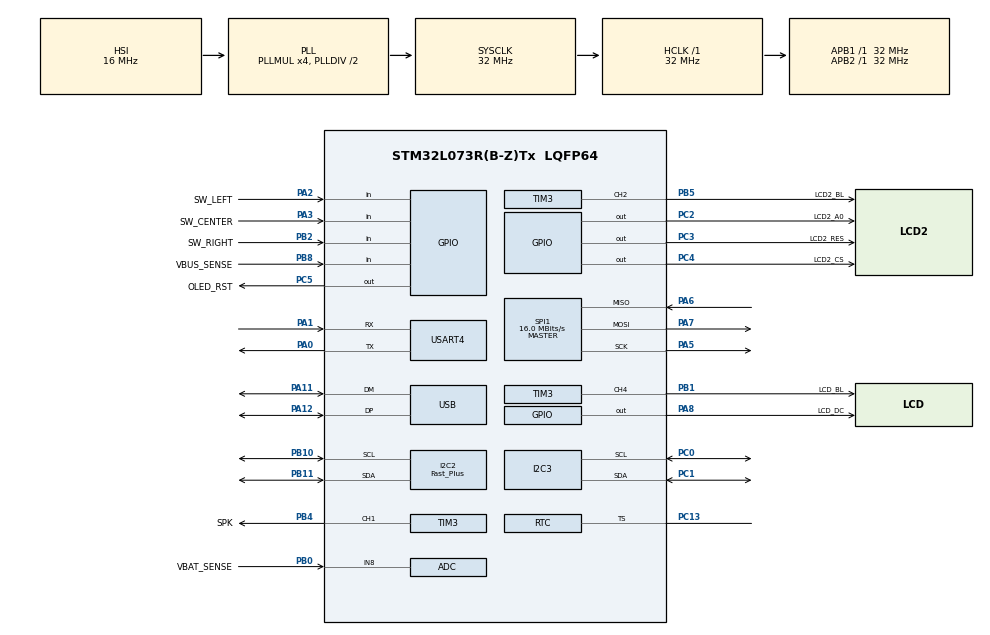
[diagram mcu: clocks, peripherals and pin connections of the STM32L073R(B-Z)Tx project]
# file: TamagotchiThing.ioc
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ADC.LowPowerAutoWait=DISABLE
I2C2.I2C_Speed_Mode=I2C_Fast_Plus
I2C2.Timing=0x0040040C
I2C3.Timing=0x00B07CB4
Mcu.Family=STM32L0
Mcu.Name=STM32L073R(B-Z)Tx
Mcu.Package=LQFP64
NVIC.TIM2_IRQn=true\:3\:0\:false\:false\:true\:false\:true\:true
NVIC.TIM6_DAC_IRQn=true\:0\:0\:false\:false\:true\:true\:true\:true
NVIC.TIM7_IRQn=true\:0\:0\:false\:false\:true\:true\:true\:true
NVIC.TimeBase=TIM2_IRQn
NVIC.TimeBaseIP=TIM2
NVIC.USB_IRQn=true\:0\:0\:false\:false\:true\:true\:true\:true
PA0.Mode=Asynchronous
PA0.Signal=USART4_TX
PA1.Mode=Asynchronous
PA1.Signal=USART4_RX
PA11.Mode=Device
PA11.Signal=USB_DM
PA12.Mode=Device
PA12.Signal=USB_DP
PA13.Mode=Serial_Wire
PA13.Signal=SYS_SWDIO
PA14.Mode=Serial_Wire
PA14.Signal=SYS_SWCLK
PA2.GPIO_Label=SW_LEFT
PA2.Signal=GPIO_Input
PA3.GPIO_Label=SW_CENTER
PA3.Signal=GPIO_Input
PA4.Signal=SPI1_NSS
PA5.Mode=Full_Duplex_Master
PA5.Signal=SPI1_SCK
PA6.Mode=Full_Duplex_Master
PA6.Signal=SPI1_MISO
PA7.Mode=Full_Duplex_Master
PA7.Signal=SPI1_MOSI
PA8.GPIO_Label=LCD_DC
PA8.Signal=GPIO_Output
PB0.GPIO_Label=VBAT_SENSE
PB0.Mode=IN8
PB0.Signal=ADC_IN8
PB1.GPIO_Label=LCD_BL
PB1.Signal=S_TIM3_CH4
PB10.Mode=I2C
PB10.Signal=I2C2_SCL
PB11.Mode=I2C
PB11.Signal=I2C2_SDA
PB2.GPIO_Label=SW_RIGHT
PB2.Signal=GPIO_Input
PB4.GPIO_Label=SPK
PB4.Signal=S_TIM3_CH1
PB5.GPIO_Label=LCD2_BL
PB5.Signal=S_TIM3_CH2
PB8.GPIO_Label=VBUS_SENSE
PB8.Signal=GPIO_Input
PC0.Mode=I2C
PC0.Signal=I2C3_SCL
PC1.Mode=I2C
PC1.Signal=I2C3_SDA
PC13.Mode=Timestamp enabled
PC13.Signal=RTC_TS
PC14-OSC32_IN.Mode=LSE-External-Oscillator
PC14-OSC32_IN.Signal=RCC_OSC32_IN
PC15-OSC32_OUT.Mode=LSE-External-Oscillator
PC15-OSC32_OUT.Signal=RCC_OSC32_OUT
PC2.GPIO_Label=LCD2_A0
PC2.Signal=GPIO_Output
PC3.GPIO_Label=LCD2_RES
PC3.Signal=GPIO_Output
PC4.GPIO_Label=LCD2_CS
PC4.Signal=GPIO_Output
PC5.GPIO_Label=OLED_RST
PC5.Signal=GPIO_Output
ProjectManager.HeapSize=0x200
ProjectManager.StackSize=0x400
ProjectManager.TargetToolchain=CMake
RCC.ADCFreq_Value=16000000
RCC.AHBFreq_Value=32000000
RCC.APB1Freq_Value=32000000
RCC.APB1TimFreq_Value=32000000
RCC.APB2Freq_Value=32000000
RCC.APB2TimFreq_Value=32000000
RCC.HCLKFreq_Value=32000000
RCC.HSE_VALUE=8000000
RCC.HSI16_VALUE=16000000
RCC.HSI48MClockSelection=RCC_USBCLKSOURCE_HSI48
RCC.HSI48_VALUE=48000000
RCC.HSI_VALUE=16000000
RCC.LptimClockSelection=RCC_LPTIM1CLKSOURCE_LSE
RCC.MSI_VALUE=2097000
RCC.PLLMUL=RCC_PLLMUL_4
RCC.RTCClockSelectionVirtual=RCC_RTCCLKSOURCE_LSE
RCC.SYSCLKFreq_VALUE=32000000
RCC.SYSCLKSource=RCC_SYSCLKSOURCE_PLLCLK
RCC.VCOOutputFreq_Value=64000000
RTC.Hours=13
RTC.Minutes=37
RTC.Month=RTC_MONTH_AUGUST
SH.S_TIM3_CH1.0=TIM3_CH1,PWM Generation1 CH1
SH.S_TIM3_CH2.0=TIM3_CH2,PWM Generation2 CH2
SH.S_TIM3_CH4.0=TIM3_CH4,PWM Generation4 CH4
SPI1.CalculateBaudRate=16.0 MBits/s
SPI1.Direction=SPI_DIRECTION_2LINES
SPI1.Mode=SPI_MODE_MASTER
SPI1.VirtualType=VM_MASTER
SYS.PowerMode=PWR_LDO_SUPPLY
TIM3.AutoReloadPreload=TIM_AUTORELOAD_PRELOAD_DISABLE
TIM3.Channel-PWM\ Generation1\ CH1=TIM_CHANNEL_1
TIM3.Channel-PWM\ Generation2\ CH2=TIM_CHANNEL_2
TIM3.Channel-PWM\ Generation4\ CH4=TIM_CHANNEL_4
TIM3.Period=59999
TIM3.Prescaler=15999
TIM6.Prescaler=246
TIM7.Period=59999
TIM7.Prescaler=15999
USART4.VirtualMode-Asynchronous=VM_ASYNC
VP_FATFS_VS_Generic.Mode=User_defined
VP_RTC_VS_RTC_Activate.Mode=RTC_Enabled
VP_RTC_VS_RTC_Calendar.Mode=RTC_Calendar
VP_SYS_VS_LPOM.Mode=PowerOptimisation
VP_SYS_VS_tim2.Mode=TIM2
VP_TIM6_VS_ClockSourceINT.Mode=Enable_Timer
VP_TIM7_VS_ClockSourceINT.Mode=Enable_Timer
board=custom

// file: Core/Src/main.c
/* USER CODE BEGIN Header */
/**
  ******************************************************************************
  * @file           : main.c
  * @brief          : Main program body
  ******************************************************************************
  * @attention
  *
  * Copyright (c) 2025 STMicroelectronics.
  * All rights reserved.
  *
  * This software is licensed under terms that can be found in the LICENSE file
  * in the root directory of this software component.
  * If no LICENSE file comes with this software, it is provided AS-IS.
  *
  ******************************************************************************
  */
/* USER CODE END Header */
#include "main.h"
#include "adc.h"
#include "fatfs.h"
#include "i2c.h"
#include "rtc.h"
#include "spi.h"
#include "tim.h"
#include "usart.h"
#include "usb.h"
#include "gpio.h"

/* USER CODE BEGIN Includes */
#include "ssd1306.h"
#include "ssd1306_fonts.h"
#include "ui.h"
#include "userio.h"
#include "usb_user.h"
#include "log.h"
#include "hal.h"
#include "tamalib.h"
#include "tama_user.h"
/* USER CODE END Includes */

void SystemClock_Config(void);

/* USER CODE BEGIN 0 */

void debug_blink_box(void) {
    static timestamp_t last = 0;
    static bool_t on = false;

    timestamp_t now = hal_get_timestamp();
    if ((now - last) >= MCU_TIME_FREQ_HZ) { // 1 second
        last = now;
        on = !on;

        u8g2_ClearBuffer(&u8g2);
        if (on) {
            u8g2_DrawBox(&u8g2, 0, 0, 8, 8);  // small box in corner
        }
        u8g2_SendBuffer(&u8g2);
    }
}

void debug_tick_counter(void) {
    static timestamp_t last_ts = 0;
    static uint32_t real_seconds = 0;

    timestamp_t now = hal_get_timestamp();
    static uint32_t tick_start = 0;

    if (last_ts == 0) {
        last_ts = now;
        tick_start = now;
    }

    if ((now - last_ts) >= 32768) { // every approx second (just a guess for now)
        last_ts = now;
        real_seconds++;

        // Estimate actual frequency
        uint32_t ticks_elapsed = now - tick_start;
        uint32_t freq_est = ticks_elapsed / real_seconds;

        char buf[32];
        u8g2_ClearBuffer(&u8g2);
        u8g2_SetFont(&u8g2, u8g2_font_8x13_mn);
        snprintf(buf, sizeof(buf), "Ticks: %lu", freq_est);
        u8g2_DrawStr(&u8g2, 0, 12, buf);
        snprintf(buf, sizeof(buf), "Ticks: %lu", __HAL_TIM_GET_COUNTER(&htim6));
        u8g2_DrawStr(&u8g2, 0, 24, buf);

        u8g2_SendBuffer(&u8g2);
    }
}

static timestamp_t screen_ts = 0;

/* USER CODE END 0 */

int main(void)
{

  /* MCU Configuration--------------------------------------------------------*/

  /* Reset of all peripherals, Initializes the Flash interface and the Systick. */
  HAL_Init();

  /* Configure the system clock */
  SystemClock_Config();

  /* Initialize all configured peripherals */
  MX_GPIO_Init();
  MX_ADC_Init();
  MX_RTC_Init();
  MX_I2C2_Init();
  MX_I2C3_Init();
  MX_SPI1_Init();
  MX_TIM3_Init();
  MX_USART4_UART_Init();
  MX_FATFS_Init();
  MX_USB_PCD_Init();
  MX_TIM7_Init();
  MX_TIM6_Init();
  /* USER CODE BEGIN 2 */
  // Init OLED

  ui_init_display();
  userio_init();
  HAL_TIM_Base_Start_IT(&htim7);
  HAL_TIM_Base_Start_IT(&htim6);
  usb_user_init();
  log_init_printf(LOG_INT);
  tama_user_init();
  LOG_INFO("Initialization complete");
  /* USER CODE END 2 */

  /* Infinite loop */
  /* USER CODE BEGIN WHILE */
  ui_loop();
  while (1)
  {
        // tamalib_mainloop();

        userio_process();
        tamalib_step();
        hal_handler();
	      timestamp_t ts;
        ts = g_hal->get_timestamp();
		      if (ts - screen_ts >= 524288/4) {
			      screen_ts = ts;
			      g_hal->update_screen();
		    }

    /* USER CODE END WHILE */

  }
}

void SystemClock_Config(void)
{
  RCC_OscInitTypeDef RCC_OscInitStruct = {0};
  RCC_ClkInitTypeDef RCC_ClkInitStruct = {0};
  RCC_PeriphCLKInitTypeDef PeriphClkInit = {0};

  /** Configure the main internal regulator output voltage
  */
  __HAL_PWR_VOLTAGESCALING_CONFIG(PWR_REGULATOR_VOLTAGE_SCALE1);

  /** Configure LSE Drive Capability
  */
  HAL_PWR_EnableBkUpAccess();
  __HAL_RCC_LSEDRIVE_CONFIG(RCC_LSEDRIVE_LOW);

  /** Initializes the RCC Oscillators according to the specified parameters
  * in the RCC_OscInitTypeDef structure.
  */
  RCC_OscInitStruct.OscillatorType = RCC_OSCILLATORTYPE_HSI|RCC_OSCILLATORTYPE_LSE
                              |RCC_OSCILLATORTYPE_HSI48;
  RCC_OscInitStruct.LSEState = RCC_LSE_ON;
  RCC_OscInitStruct.HSIState = RCC_HSI_ON;
  RCC_OscInitStruct.HSICalibrationValue = RCC_HSICALIBRATION_DEFAULT;
  RCC_OscInitStruct.HSI48State = RCC_HSI48_ON;
  RCC_OscInitStruct.PLL.PLLState = RCC_PLL_ON;
  RCC_OscInitStruct.PLL.PLLSource = RCC_PLLSOURCE_HSI;
  RCC_OscInitStruct.PLL.PLLMUL = RCC_PLLMUL_4;
  RCC_OscInitStruct.PLL.PLLDIV = RCC_PLLDIV_2;
  if (HAL_RCC_OscConfig(&RCC_OscInitStruct) != HAL_OK)
  {
    Error_Handler();
  }

  /** Initializes the CPU, AHB and APB buses clocks
  */
  RCC_ClkInitStruct.ClockType = RCC_CLOCKTYPE_HCLK|RCC_CLOCKTYPE_SYSCLK
                              |RCC_CLOCKTYPE_PCLK1|RCC_CLOCKTYPE_PCLK2;
  RCC_ClkInitStruct.SYSCLKSource = RCC_SYSCLKSOURCE_PLLCLK;
  RCC_ClkInitStruct.AHBCLKDivider = RCC_SYSCLK_DIV1;
  RCC_ClkInitStruct.APB1CLKDivider = RCC_HCLK_DIV1;
  RCC_ClkInitStruct.APB2CLKDivider = RCC_HCLK_DIV1;

  if (HAL_RCC_ClockConfig(&RCC_ClkInitStruct, FLASH_LATENCY_1) != HAL_OK)
  {
    Error_Handler();
  }
  PeriphClkInit.PeriphClockSelection = RCC_PERIPHCLK_I2C3|RCC_PERIPHCLK_RTC
                              |RCC_PERIPHCLK_USB;
  PeriphClkInit.I2c3ClockSelection = RCC_I2C3CLKSOURCE_PCLK1;
  PeriphClkInit.RTCClockSelection = RCC_RTCCLKSOURCE_LSE;
  PeriphClkInit.UsbClockSelection = RCC_USBCLKSOURCE_HSI48;
  if (HAL_RCCEx_PeriphCLKConfig(&PeriphClkInit) != HAL_OK)
  {
    Error_Handler();
  }
}

void HAL_TIM_PeriodElapsedCallback(TIM_HandleTypeDef *htim)
{
  if (htim->Instance == TIM2)
  {
    HAL_IncTick();
  }
  /* USER CODE BEGIN Callback 1 */
  if (htim->Instance == TIM7)
  {
    // ui_force_redraw();
  }
  if (htim->Instance == TIM6) {
    tim_increment_ticks();  // 16-bit overflow occurred
  }
  /* USER CODE END Callback 1 */
}

void Error_Handler(void)
{
  __disable_irq();
  while (1)
  {
  }
}
